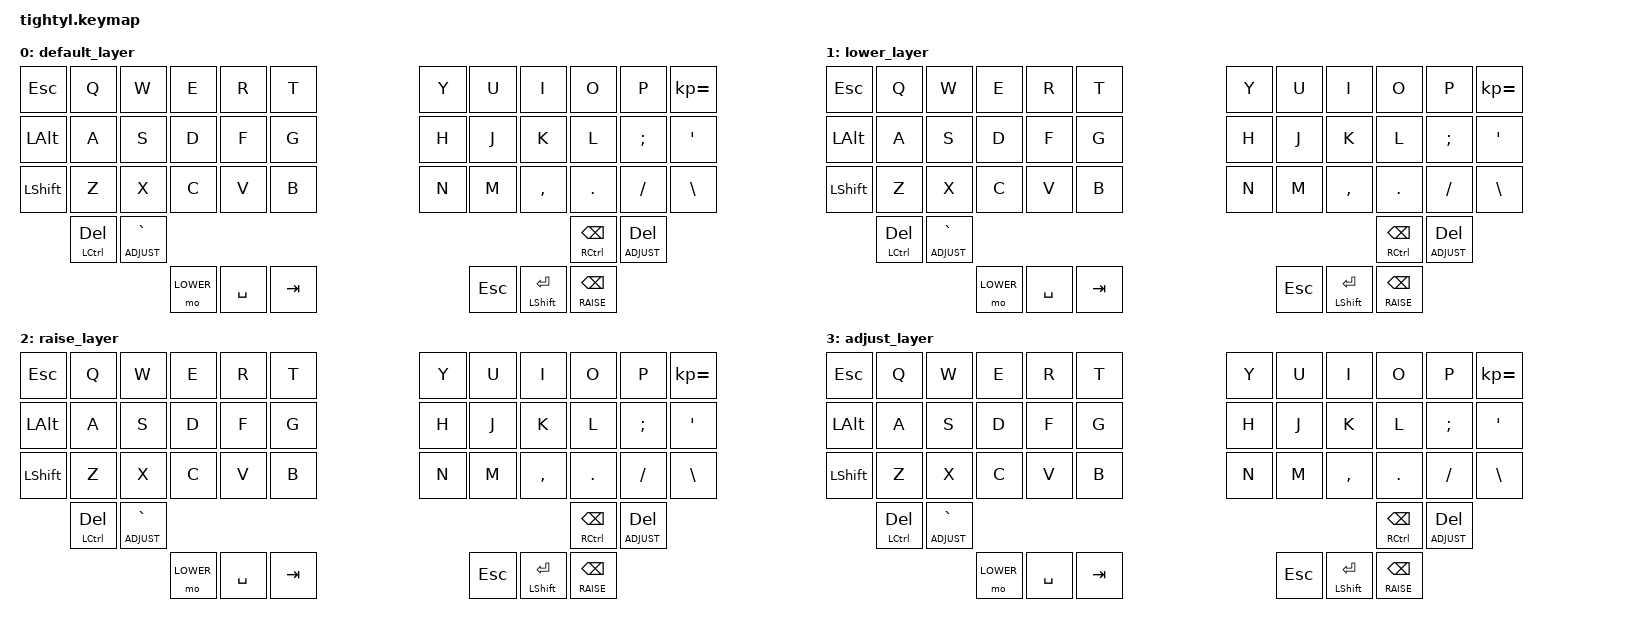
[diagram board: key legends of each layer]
#include <behaviors.dtsi>
#include <dt-bindings/zmk/keys.h>
#include <dt-bindings/zmk/bt.h>
#include <dt-bindings/zmk/outputs.h>

#define DEFAULT 0
#define LOWER   1
#define RAISE   2 
#define ADJUST  3

#define HYPER(key) LS(LC(LA(LG(key))))
#define MEH(key)   LS(LC(LA(key)))

&sl {
    release-after-ms = <5000>;
};


&kscan0 {
    debounce-press-ms = <30>;
    debounce-release-ms = <30>;
};

/ {
    keymap {
        compatible = "zmk,keymap";

        default_layer {
            bindings = <
    &kp ESC   &kp Q     &kp W    &kp E     &kp R      &kp T                              &kp Y     &kp U     &kp I     &kp O     &kp P    &kp KP_EQUAL
    &kp LALT  &kp A     &kp S    &kp D     &kp F      &kp G                              &kp H     &kp J     &kp K     &kp L     &kp SEMI &kp SQT
    &kp LSHFT &kp Z     &kp X    &kp C     &kp V      &kp B                              &kp N     &kp M     &kp COMMA &kp DOT   &kp FSLH &kp BSLH
              &mt LCTRL DEL &lt ADJUST GRAVE                                                                   &mt RCTRL BSPC &lt ADJUST DEL
                                 &mo LOWER  &kp SPACE &kp TAB                            &kp ESC   &mt LSHFT ENTER &lt RAISE BSPC 
            >;
        };

        lower_layer {
            bindings = <
    &kp ESC   &kp Q     &kp W    &kp E     &kp R      &kp T                              &kp Y     &kp U     &kp I     &kp O     &kp P    &kp KP_EQUAL
    &kp LALT  &kp A     &kp S    &kp D     &kp F      &kp G                              &kp H     &kp J     &kp K     &kp L     &kp SEMI &kp SQT
    &kp LSHFT &kp Z     &kp X    &kp C     &kp V      &kp B                              &kp N     &kp M     &kp COMMA &kp DOT   &kp FSLH &kp BSLH
              &mt LCTRL DEL &lt ADJUST GRAVE                                                                   &mt RCTRL BSPC &lt ADJUST DEL
                                 &mo LOWER  &kp SPACE &kp TAB                            &kp ESC   &mt LSHFT ENTER &lt RAISE BSPC 
            >;
        };

        raise_layer {
            bindings = <
    &kp ESC   &kp Q     &kp W    &kp E     &kp R      &kp T                              &kp Y     &kp U     &kp I     &kp O     &kp P    &kp KP_EQUAL
    &kp LALT  &kp A     &kp S    &kp D     &kp F      &kp G                              &kp H     &kp J     &kp K     &kp L     &kp SEMI &kp SQT
    &kp LSHFT &kp Z     &kp X    &kp C     &kp V      &kp B                              &kp N     &kp M     &kp COMMA &kp DOT   &kp FSLH &kp BSLH
              &mt LCTRL DEL &lt ADJUST GRAVE                                                                   &mt RCTRL BSPC &lt ADJUST DEL
                                 &mo LOWER  &kp SPACE &kp TAB                            &kp ESC   &mt LSHFT ENTER &lt RAISE BSPC 
            >;
        };

        adjust_layer {
            bindings = <
    &kp ESC   &kp Q     &kp W    &kp E     &kp R      &kp T                              &kp Y     &kp U     &kp I     &kp O     &kp P    &kp KP_EQUAL
    &kp LALT  &kp A     &kp S    &kp D     &kp F      &kp G                              &kp H     &kp J     &kp K     &kp L     &kp SEMI &kp SQT
    &kp LSHFT &kp Z     &kp X    &kp C     &kp V      &kp B                              &kp N     &kp M     &kp COMMA &kp DOT   &kp FSLH &kp BSLH
              &mt LCTRL DEL &lt ADJUST GRAVE                                                                   &mt RCTRL BSPC &lt ADJUST DEL
                                 &mo LOWER  &kp SPACE &kp TAB                            &kp ESC   &mt LSHFT ENTER &lt RAISE BSPC 
            >;
        };

    };
};
